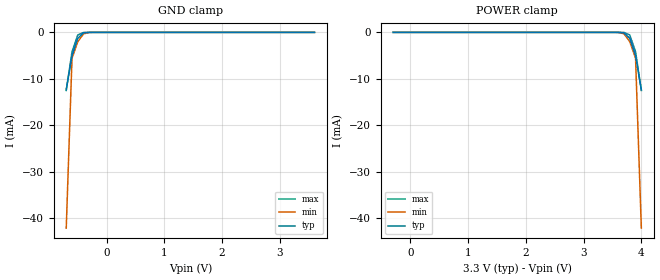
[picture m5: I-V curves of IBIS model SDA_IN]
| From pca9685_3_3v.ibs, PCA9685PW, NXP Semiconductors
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[Model]   SDA_IN
Model_type Input
Vinh=2.31
Vinl=0.99
C_comp   1.3p   1.2p   1.4p
[Temperature Range] 27   85   -40
[Voltage Range]   3.3   3   3.6
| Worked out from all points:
|   GND clamp passes 1 mA (typ) near -0.48 V on its own axis
[GND Clamp]
-700mV    -12.37mA   -42.13mA   -12.51mA
-600mV    -5.049mA   -5.581mA   -4.179mA
-500mV    -1.287mA   -1.998mA   -563.1uA
-400mV    -108.9uA   -316.6uA   -15.93uA
-300mV    -2.987uA   -15.37uA   -173.2nA
-200mV    -52.85nA   -396.6nA   -1.479nA
3.6V      296.8pA    652.7pA    264.6pA
[POWER Clamp]
-300mV    296.8pA    652.7pA    264.6pA
3.5V      -52.85nA   -396.6nA   -1.479nA
3.6V      -2.987uA   -15.37uA   -173.2nA
3.7V      -108.9uA   -316.6uA   -15.93uA
3.8V      -1.287mA   -1.998mA   -563.1uA
3.9V      -5.049mA   -5.581mA   -4.179mA
4V        -12.37mA   -42.13mA   -12.51mA
